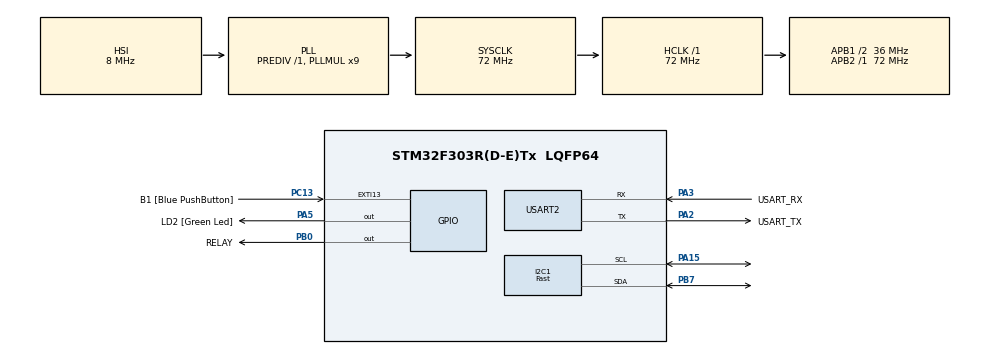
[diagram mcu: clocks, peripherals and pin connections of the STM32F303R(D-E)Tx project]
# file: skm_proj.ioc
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Mcu.Family=STM32F3
PA2.GPIO_PuPd=GPIO_NOPULL
RCC.CortexFreq_Value=72000000
NVIC.I2C1_EV_IRQn=true\:0\:0\:false\:false\:true\:true\:true
I2C1.I2C_Speed_Mode=I2C_Fast
VP_IWDG_VS_IWDG.Mode=IWDG_Activate
PA14.GPIO_Label=TCK
RCC.SYSCLKSourceVirtual=RCC_SYSCLKSOURCE_PLLCLK
PA3.GPIO_PuPd=GPIO_NOPULL
PA2.GPIO_Speed=GPIO_SPEED_FREQ_LOW
PB0.GPIO_Label=RELAY
PC13.GPIO_Label=B1 [Blue PushButton]
PA3.GPIO_Speed=GPIO_SPEED_FREQ_LOW
ProjectManager.StackSize=0x400
RCC.HCLKFreq_Value=72000000
RCC.APB2TimFreq_Value=72000000
Dma.I2C1_RX.0.PeriphDataAlignment=DMA_PDATAALIGN_BYTE
RCC.AHBFreq_Value=72000000
Dma.I2C1_RX.0.Priority=DMA_PRIORITY_LOW
RCC.HSE_VALUE=8000000
Dma.I2C1_RX.0.Mode=DMA_NORMAL
USART2.VirtualMode-Asynchronous=VM_ASYNC
PA15.Mode=I2C
RCC.RCC_PLLsource_Clock_Source_FROM_HSE=RCC_HSE_PREDIV_DIV2
RCC.PLLMUL=RCC_PLL_MUL9
PC14-OSC32_IN.Mode=LSE-External-Oscillator
PA14.Mode=Serial_Wire
PA5.GPIO_PuPd=GPIO_NOPULL
PB7.Signal=I2C1_SDA
Dma.I2C1_RX.0.Direction=DMA_PERIPH_TO_MEMORY
Mcu.Package=LQFP64
PA2.GPIO_Label=USART_TX
IWDG.Reload=2700
PA15.Signal=I2C1_SCL
RCC.APB1TimFreq_Value=72000000
Dma.Request0=I2C1_RX
PF1-OSC_OUT.Signal=RCC_OSC_OUT
PA3.Signal=USART2_RX
PA2.GPIO_Mode=GPIO_MODE_AF_PP
PB3.GPIO_Label=SWO
PC15-OSC32_OUT.Mode=LSE-External-Oscillator
I2C1.Speed=100
Dma.I2C1_RX.0.PeriphInc=DMA_PINC_DISABLE
Dma.I2C1_RX.0.MemDataAlignment=DMA_MDATAALIGN_BYTE
PC13.Signal=GPXTI13
RCC.APB1CLKDivider=RCC_HCLK_DIV2
PC14-OSC32_IN.Signal=RCC_OSC32_IN
PA13.Signal=SYS_JTMS-SWDIO
PA3.Mode=Asynchronous
ProjectManager.TargetToolchain=STM32CubeIDE
PA3.GPIO_Mode=GPIO_MODE_AF_PP
Dma.I2C1_RX.0.MemInc=DMA_MINC_ENABLE
I2C1.Timing=0x20000215
RCC.USBFreq_Value=72000000
PC15-OSC32_OUT.Signal=RCC_OSC32_OUT
PF0-OSC_IN.Mode=HSE-External-Clock-Source
PA5.Signal=GPIO_Output
board=NUCLEO-F303RE
RCC.APB2Freq_Value=72000000
PA13.Mode=Serial_Wire
Mcu.Name=STM32F303R(D-E)Tx
PA13.GPIO_Label=TMS
PA2.Signal=USART2_TX
PB3.Signal=SYS_JTDO-TRACESWO
RCC.SYSCLKFreq_VALUE=72000000
PA5.GPIO_Label=LD2 [Green Led]
PC13.GPIO_ModeDefaultEXTI=GPIO_MODE_IT_FALLING
PB7.Mode=I2C
PA14.Signal=SYS_JTCK-SWCLK
ProjectManager.HeapSize=0x200
RCC.HSI_VALUE=8000000
RCC.PLLP=RCC_PLLP_DIV4
PA5.GPIO_Speed=GPIO_SPEED_FREQ_LOW
RCC.PLLQ=7
NVIC.PriorityGroup=NVIC_PRIORITYGROUP_0
RCC.PLLM=8
RCC.PLLN=336
IWDG.Prescaler=IWDG_PRESCALER_16
PA2.Mode=Asynchronous
NVIC.DMA1_Channel7_IRQn=true\:0\:0\:false\:false\:true\:false\:true
PF0-OSC_IN.Signal=RCC_OSC_IN
RCC.APB1Freq_Value=36000000
PA5.GPIO_Mode=GPIO_MODE_OUTPUT_PP
PB0.Signal=GPIO_Output
IWDG.Window=2700
Dma.I2C1_RX.0.Instance=DMA1_Channel7
PA3.GPIO_Label=USART_RX

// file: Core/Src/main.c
/* USER CODE BEGIN Header */
/**
  ******************************************************************************
  * @file           : main.c
  * @brief          : Main program body
  ******************************************************************************
  * @attention
  *
  * <h2><center>&copy; Copyright (c) 2021 STMicroelectronics.
  * All rights reserved.</center></h2>
  *
  * This software component is licensed by ST under BSD 3-Clause license,
  * the "License"; You may not use this file except in compliance with the
  * License. You may obtain a copy of the License at:
  *                        opensource.org/licenses/BSD-3-Clause
  *
  ******************************************************************************
  */
/* USER CODE END Header */
#include "main.h"
#include "dma.h"
#include "i2c.h"
#include "iwdg.h"
#include "usart.h"
#include "gpio.h"

/* USER CODE BEGIN Includes */

#include "evTim.h"
#include "ssd1306.h"
#include "ssd1306_tests.h"
#include "hdc1080.h"
#include <string.h>
#include <stdio.h>
#include "stdbool.h"

/* USER CODE END Includes */

/* USER CODE BEGIN PD */

#define TIMER_DELAY 20	//Change if data does not arrive (relay can't switch that fast)
#define UTIL_DELAY 4

/* USER CODE END PD */

/* USER CODE BEGIN PV */

char lcd_buf[25];
int i;

typedef enum
{
	SENSOR1,
	SENSOR2,
}e_sensor;

extern IWDG_HandleTypeDef hiwdg;
struct hdc_data_s s_hdcData1, s_hdcData2;
e_sensor activeSensor;

EvTim_stamp_t tim_utils, tim_fetch;

/* USER CODE END PV */

void SystemClock_Config(void);

int main(void)
{

  /* MCU Configuration--------------------------------------------------------*/

  /* Reset of all peripherals, Initializes the Flash interface and the Systick. */
  HAL_Init();

  /* Configure the system clock */
  SystemClock_Config();

  /* Initialize all configured peripherals */
  MX_GPIO_Init();
  MX_DMA_Init();
  MX_USART2_UART_Init();
  MX_I2C1_Init();
  MX_IWDG_Init();
  /* USER CODE BEGIN 2 */

  HAL_IWDG_Refresh(&hiwdg);

  if(!HDC1080_Init()) HAL_GPIO_WritePin(GPIOA, GPIO_PIN_5, 1);
  HDC1080_TriggerData();
  HAL_GPIO_TogglePin(GPIOB, GPIO_PIN_0);

  HAL_Delay(10);

  if(!HDC1080_Init()) HAL_GPIO_WritePin(GPIOA, GPIO_PIN_5, 1);
  HDC1080_TriggerData();

  ssd1306_Init();

  ssd1306_SetCursor(0, 2);
  ssd1306_WriteString("SKM PROJECT <3",Font_6x8, White);
  ssd1306_UpdateScreen();
  HAL_Delay(900);

  EvTim_ActivateMs(&tim_fetch, TIMER_DELAY);
  EvTim_ActivateMs(&tim_utils, UTIL_DELAY);

  /* USER CODE END 2 */

  /* Infinite loop */
  while (1)
  {

    /* USER CODE BEGIN 3 */
	  HAL_IWDG_Refresh(&hiwdg);

	  //Runs every UTIL_DELAY[ms]
	  if(EvTim_getState(&tim_utils) == EVTIM_TIMES_UP)
	  {
		  sprintf(lcd_buf,"T1:%.1f C T2:%.1f C", s_hdcData1.temperature, s_hdcData2.temperature);
		  ssd1306_SetCursor(0, 0);
		  ssd1306_WriteString(lcd_buf,Font_6x8, White);

		  sprintf(lcd_buf,"H1:%.1f %% H2:%.1f %%", s_hdcData1.humidity,s_hdcData2.humidity);
		  ssd1306_SetCursor(0, 15);
		  ssd1306_WriteString(lcd_buf,Font_6x8, White);

		  ssd1306_UpdateScreen();
		  EvTim_ActivateMs(&tim_utils, UTIL_DELAY);
	  }

	  //Runs every TIMER_DELAY[ms]
	  if(EvTim_getState(&tim_fetch) == EVTIM_TIMES_UP)
	  {
		  if(activeSensor == SENSOR1)
		  {
			  HDC1080_GetData(&s_hdcData1);
			  activeSensor = SENSOR2;
		  }
		  else
		  {
			  HDC1080_GetData(&s_hdcData2);
			  activeSensor = SENSOR1;
		  }
		  HDC1080_TriggerData();
		  HAL_GPIO_TogglePin(GPIOB, GPIO_PIN_0);

		  EvTim_ActivateMs(&tim_fetch, TIMER_DELAY);
	  }
  }
  /* USER CODE END 3 */
}

void SystemClock_Config(void)
{
  RCC_OscInitTypeDef RCC_OscInitStruct = {0};
  RCC_ClkInitTypeDef RCC_ClkInitStruct = {0};
  RCC_PeriphCLKInitTypeDef PeriphClkInit = {0};

  /** Initializes the RCC Oscillators according to the specified parameters
  * in the RCC_OscInitTypeDef structure.
  */
  RCC_OscInitStruct.OscillatorType = RCC_OSCILLATORTYPE_HSI|RCC_OSCILLATORTYPE_LSI;
  RCC_OscInitStruct.HSIState = RCC_HSI_ON;
  RCC_OscInitStruct.HSICalibrationValue = RCC_HSICALIBRATION_DEFAULT;
  RCC_OscInitStruct.LSIState = RCC_LSI_ON;
  RCC_OscInitStruct.PLL.PLLState = RCC_PLL_ON;
  RCC_OscInitStruct.PLL.PLLSource = RCC_PLLSOURCE_HSI;
  RCC_OscInitStruct.PLL.PLLMUL = RCC_PLL_MUL9;
  RCC_OscInitStruct.PLL.PREDIV = RCC_PREDIV_DIV1;
  if (HAL_RCC_OscConfig(&RCC_OscInitStruct) != HAL_OK)
  {
    Error_Handler();
  }
  /** Initializes the CPU, AHB and APB buses clocks
  */
  RCC_ClkInitStruct.ClockType = RCC_CLOCKTYPE_HCLK|RCC_CLOCKTYPE_SYSCLK
                              |RCC_CLOCKTYPE_PCLK1|RCC_CLOCKTYPE_PCLK2;
  RCC_ClkInitStruct.SYSCLKSource = RCC_SYSCLKSOURCE_PLLCLK;
  RCC_ClkInitStruct.AHBCLKDivider = RCC_SYSCLK_DIV1;
  RCC_ClkInitStruct.APB1CLKDivider = RCC_HCLK_DIV2;
  RCC_ClkInitStruct.APB2CLKDivider = RCC_HCLK_DIV1;

  if (HAL_RCC_ClockConfig(&RCC_ClkInitStruct, FLASH_LATENCY_2) != HAL_OK)
  {
    Error_Handler();
  }
  PeriphClkInit.PeriphClockSelection = RCC_PERIPHCLK_USART2|RCC_PERIPHCLK_I2C1;
  PeriphClkInit.Usart2ClockSelection = RCC_USART2CLKSOURCE_PCLK1;
  PeriphClkInit.I2c1ClockSelection = RCC_I2C1CLKSOURCE_HSI;
  if (HAL_RCCEx_PeriphCLKConfig(&PeriphClkInit) != HAL_OK)
  {
    Error_Handler();
  }
}

void Error_Handler(void)
{
  __disable_irq();
  while (1)
  {
  }
}

/************************ (C) COPYRIGHT STMicroelectronics *****END OF FILE****/
